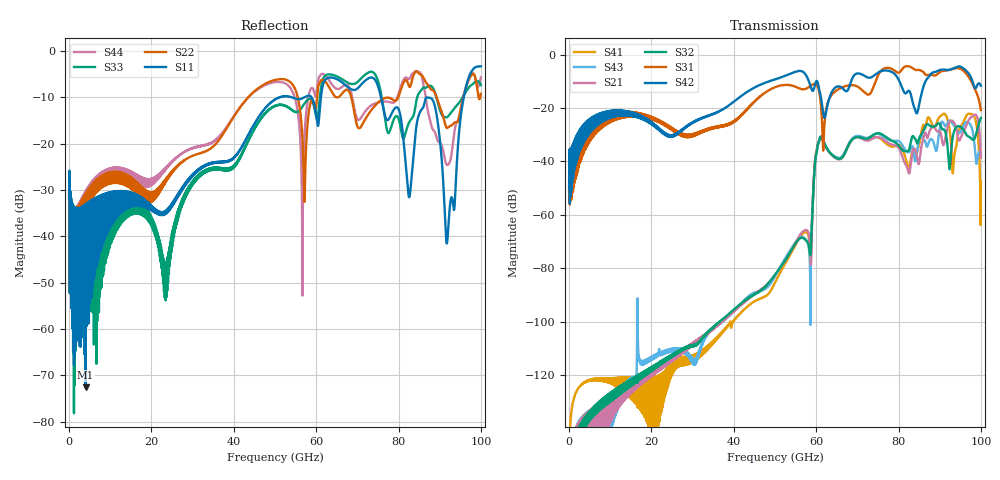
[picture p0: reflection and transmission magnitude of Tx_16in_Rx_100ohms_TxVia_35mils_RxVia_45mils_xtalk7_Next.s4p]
! Info: Touchstone file created by Circ.  Input file=Tx_16in_Rx_100ohms_TxVia_35mils_RxVia_45mils.circ
# Hz S RI R 50
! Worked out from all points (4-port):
!   10000 points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, 10 MHz to 100 GHz, reference 50 ohm
!   strongest paths, dB at 10 MHz, 25.01 GHz, 50.01 GHz, 75.01 GHz, 100 GHz:
!     S42: -50.3, -30.8, -9.3, -6.7, -11.6
!     S31: -50.9, -28.0, -12.2, -7.9, -20.7
!     S32: -180.2, -113.2, -82.4, -29.4, -23.7
!     S21: -175.7, -114.3, -82.5, -30.9, -38.6
!     S43: -175.3, -111.1, -83.0, -29.7, -37.3
!     S41: -162.3, -116.2, -85.4, -31.0, -47.6
!   lowest |S11| = -72.6 dB at 4 GHz (marker M1), VSWR 1.00, Z = 50 - j0.0152 ohm
!   |S11| at or under -10 dB: start of sweep to 51.09 GHz; 54.02 GHz to 57.17 GHz (3.149 GHz wide, 5.66 % of centre); 75.73 GHz to 95.85 GHz (20.12 GHz wide, 23.4 % of centre) (the widest 3 of 5)
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1e7  0.0232 0.00928  1.23e-09 1.07e-09  0.000623 0.00278  5.56e-09 5.32e-09
     1.23e-09 1.07e-09  0.0247 0.00878  6.5e-10 7.36e-10  0.00118 0.00281
     0.000623 0.00278  6.5e-10 7.36e-10  0.024 0.00879  1.3e-09 1.12e-09
     5.56e-09 5.32e-09  0.00118 0.00281  1.3e-09 1.12e-09  0.0245 0.00883
4e9  0.000178 -0.000152  -1.48e-07 8.06e-08  0.0088 0.0165  -7.56e-07 -3.02e-08
     -1.48e-07 8.06e-08  0.0151 0.0108  4.63e-08 1.5e-07  0.0168 0.0211
     0.0088 0.0165  4.63e-08 1.5e-07  -0.00187 -0.00212  -1.6e-07 7.56e-08
     -7.56e-07 -3.02e-08  0.0168 0.0211  -1.6e-07 7.56e-08  0.0168 0.0126
5.16e10  0.1367 0.2888  -6.57e-06 -0.000109  0.2174 0.1534  -2.94e-06 -9.24e-05
         -6.57e-06 -0.000109  0.4823 0.1179  -2.52e-05 -0.000109  0.3216 -0.1985
         0.2174 0.1534  -2.52e-05 -0.000109  0.1217 0.2311  -3.21e-05 -0.000113
         -2.94e-06 -9.24e-05  0.3216 -0.1985  -3.21e-05 -0.000113  0.4494 0.0945
6.35e10  0.4853 -0.1792  -0.0117 -0.00738  -0.0031 -0.1644  -0.0119 -0.0075
         -0.0117 -0.00738  0.076 -0.3733  -0.0124 -0.00676  -0.0902 0.153
         -0.0031 -0.1644  -0.0124 -0.00676  0.5357 -0.1527  -0.0126 -0.00682
         -0.0119 -0.0075  -0.0902 0.153  -0.0126 -0.00682  0.1013 -0.4458
8.813e10  -0.2514 0.1679  0.0242 -0.0361  0.1339 0.3924  -0.0225 -0.0446
          0.0242 -0.0361  -0.2143 0.313  0.0107 -0.0433  0.0653 0.4483
          0.1339 0.3924  0.0107 -0.0433  -0.2612 0.3174  0.00868 -0.0244
          -0.0225 -0.0446  0.0653 0.4483  0.00868 -0.0244  -0.081 0.1241
9.178e10  0.00604 -0.00596  -0.0356 -0.0178  0.4133 -0.2948  0.0386 0.0526
          -0.0356 -0.0178  0.1441 0.0314  0.00387 0.0232  0.4051 -0.3171
          0.4133 -0.2948  0.00387 0.0232  0.1888 -0.0381  -0.05 -0.00226
          0.0386 0.0526  0.4051 -0.3171  -0.05 -0.00226  0.058 0.00879
1e11  -0.5731 0.371  -0.0117 0.00141  0.0627 0.067  -0.00276 -0.00315
      -0.0117 0.00141  -0.3443 0.0315  0.0223 0.0611  0.0185 0.261
      0.0627 0.067  0.0223 0.0611  -0.3069 0.2989  -0.00865 -0.0105
      -0.00276 -0.00315  0.0185 0.261  -0.00865 -0.0105  -0.5122 0.0748
